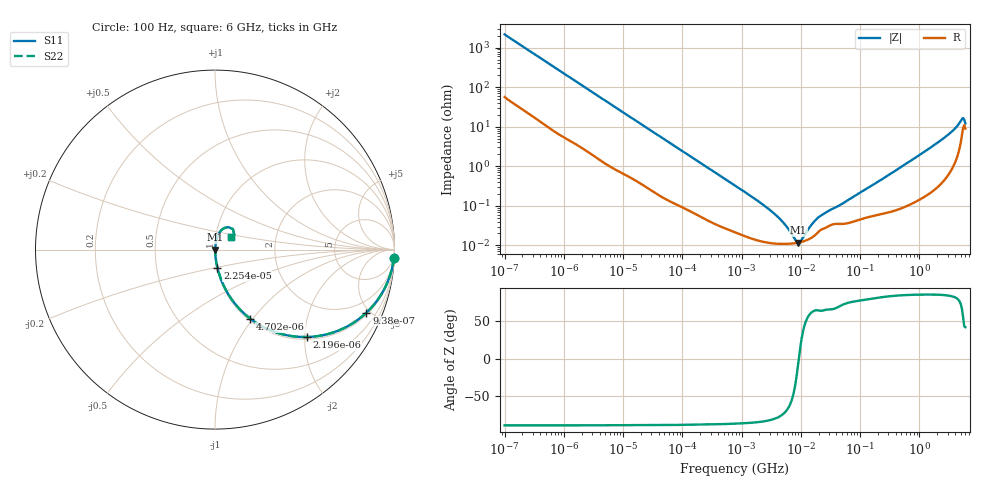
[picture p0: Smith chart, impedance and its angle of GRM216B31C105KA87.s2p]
!Murata Part Number: GRM216B31C105KA87
!These Parameters are Measured in Series Mode Connection
!Data Generated on Mar 30, 2021
!  o--ll--o
!Port1  Port2
!  o------o
!Operation Temp=25[degC], DC Bias Voltage=0[V]
!Freq. Start=100[Hz] Stop=6[GHz] 401[Steps]
# Hz S RI R 50
!Freq.(Hz) S11(Real) S11(Imag) S21(Real) S21(Imag) S12(Real) S12(Imag) S22(Real) S22(Imag)
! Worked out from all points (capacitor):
!   401 points, 100 Hz to 6 GHz, reference 50 ohm
!   read as one part in series: C = 735 nF near 109 Hz
!   lowest |Z| = 11.8 mohm at 9.09 MHz (marker M1)
!   series resonance near 9.242 MHz, so ESL is about 400 pH
!   S11 on the Smith chart (normalised r, x): 100 Hz: 2, -43; 938 Hz: 1.11, -4.75; 2.196 kHz: 1.05, -2.06; 4.702 kHz: 1.02, -0.97; 22.54 kHz: 1.01, -0.21; 6 GHz: 1.18, +0.16
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100  0.9967 -0.0461  0.00334 0.0461  0.00334 0.0461  0.9967 -0.0461
335  0.9738 -0.1479  0.0262 0.1479  0.0262 0.1479  0.9738 -0.1479
938  0.8435 -0.3516  0.1565 0.3516  0.1565 0.3516  0.8435 -0.3516
2008  0.5563 -0.484  0.4437 0.484  0.4437 0.484  0.5563 -0.484
2196  0.5137 -0.487  0.4863 0.487  0.4863 0.487  0.5137 -0.487
4702  0.1974 -0.3855  0.8026 0.3855  0.8026 0.3855  0.1974 -0.3855
8801  0.0701 -0.242  0.9299 0.242  0.9299 0.242  0.0701 -0.242
22537  0.0139 -0.1025  0.9861 0.1025  0.9861 0.1025  0.0139 -0.1025
40335  0.00528 -0.0585  0.9947 0.0585  0.9947 0.0585  0.00528 -0.0585
774597  0.000224 -0.00326  0.9998 0.00326  0.9998 0.00326  0.000224 -0.00326
3712478  0.000111 -0.000591  0.9999 0.000591  0.9999 0.000591  0.000111 -0.000591
5311619  0.000109 -0.000331  0.9999 0.000331  0.9999 0.000331  0.000109 -0.000331
7947587  0.000114 -8.59e-05  0.9999 8.59e-05  0.9999 8.59e-05  0.000114 -8.59e-05
9090158  0.000118 -9.3e-06  0.9999 9.3e-06  0.9999 9.3e-06  0.000118 -9.3e-06
1.039699e7  0.000123 6.73e-05  0.9999 -6.73e-05  0.9999 -6.73e-05  0.000123 6.73e-05
1.555665e7  0.00016 0.00031  0.9998 -0.00031  0.9998 -0.00031  0.00016 0.00031
2.225763e7  0.000251 0.00052  0.9997 -0.00052  0.9997 -0.00052  0.000251 0.00052
3.124326e8  0.000727 0.00613  0.9993 -0.00613  0.9993 -0.00613  0.000727 0.00613
2.450438e9  0.0062 0.0478  0.9938 -0.0478  0.9938 -0.0478  0.0062 0.0478
3.666503e9  0.0152 0.0769  0.9848 -0.0769  0.9848 -0.0769  0.0152 0.0769
5.016141e9  0.0548 0.1216  0.9452 -0.1216  0.9452 -0.1216  0.0548 0.1216
6e9  0.0873 0.0684  0.9127 -0.0684  0.9127 -0.0684  0.0873 0.0684
